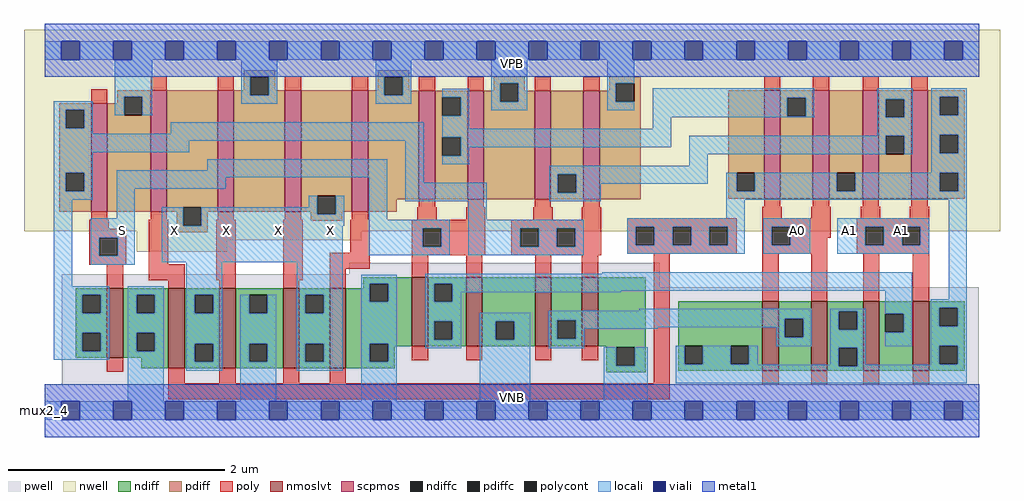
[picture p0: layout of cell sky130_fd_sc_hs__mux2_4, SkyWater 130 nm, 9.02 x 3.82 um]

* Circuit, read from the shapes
.subckt sky130_fd_sc_hs__mux2_4 A0 A1 S VGND VNB VPB VPWR X
XM1 VGND S n1 VNB sky130_fd_pr__nfet_01v8_lvt w=0.64 l=0.15
XM2 X n2 VGND VNB sky130_fd_pr__nfet_01v8_lvt w=0.74 l=0.15 m=4
XM3 n3 S VGND VNB sky130_fd_pr__nfet_01v8_lvt w=0.64 l=0.15 m=2
XM4 n4 n1 VGND VNB sky130_fd_pr__nfet_01v8_lvt w=0.64 l=0.15 m=2
XM5 n4 A0 n2 VNB sky130_fd_pr__nfet_01v8_lvt w=0.64 l=0.15 m=2
XM6 n3 A1 n2 VNB sky130_fd_pr__nfet_01v8_lvt w=0.64 l=0.15 m=2
XM7 VPWR S n1 VPB sky130_fd_pr__pfet_01v8 w=1 l=0.15
XM8 X n2 VPWR VPB sky130_fd_pr__pfet_01v8 w=1.12 l=0.15 m=4
XM9 n5 S VPWR VPB sky130_fd_pr__pfet_01v8 w=1 l=0.15 m=2
XM10 n6 n1 VPWR VPB sky130_fd_pr__pfet_01v8 w=1 l=0.15 m=2
XM11 n5 A0 n2 VPB sky130_fd_pr__pfet_01v8 w=1 l=0.15 m=2
XM12 n6 A1 n2 VPB sky130_fd_pr__pfet_01v8 w=1 l=0.15 m=2
.ends

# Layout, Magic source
magic
tech sky130A
magscale 1 2
<< nwell >>
rect -38 332 1766 704
rect 170 315 586 332
rect 170 294 338 315
<< pwell >>
rect 563 252 1137 273
rect 32 228 1137 252
rect 32 49 1727 228
rect 0 0 1728 49
<< scpmos >>
rect 86 368 116 568
rect 196 368 226 592
rect 320 368 350 592
rect 444 368 474 592
rect 568 368 598 592
rect 692 391 722 591
rect 782 391 812 591
rect 906 391 936 591
rect 996 391 1026 591
rect 1330 392 1360 592
rect 1420 392 1450 592
rect 1512 392 1542 592
rect 1602 392 1632 592
<< nmoslvt >>
rect 115 98 145 226
rect 229 78 259 226
rect 323 78 353 226
rect 441 78 471 226
rect 527 78 557 226
rect 679 119 709 247
rect 779 119 809 247
rect 907 119 937 247
rect 993 119 1023 247
rect 1327 74 1357 202
rect 1417 74 1447 202
rect 1513 74 1543 202
rect 1605 74 1635 202
<< ndiff >>
rect 589 235 679 247
rect 589 226 601 235
rect 58 214 115 226
rect 58 180 70 214
rect 104 180 115 214
rect 58 144 115 180
rect 58 110 70 144
rect 104 110 115 144
rect 58 98 115 110
rect 145 214 229 226
rect 145 180 170 214
rect 204 180 229 214
rect 145 144 229 180
rect 145 110 170 144
rect 204 110 229 144
rect 145 98 229 110
rect 179 78 229 98
rect 259 214 323 226
rect 259 180 278 214
rect 312 180 323 214
rect 259 124 323 180
rect 259 90 278 124
rect 312 90 323 124
rect 259 78 323 90
rect 353 214 441 226
rect 353 180 378 214
rect 412 180 441 214
rect 353 124 441 180
rect 353 90 378 124
rect 412 90 441 124
rect 353 78 441 90
rect 471 214 527 226
rect 471 180 482 214
rect 516 180 527 214
rect 471 124 527 180
rect 471 90 482 124
rect 516 90 527 124
rect 471 78 527 90
rect 557 201 601 226
rect 635 201 679 235
rect 557 124 679 201
rect 557 90 601 124
rect 635 119 679 124
rect 709 235 779 247
rect 709 201 720 235
rect 754 201 779 235
rect 709 165 779 201
rect 709 131 720 165
rect 754 131 779 165
rect 709 119 779 131
rect 809 165 907 247
rect 809 131 834 165
rect 868 131 907 165
rect 809 119 907 131
rect 937 167 993 247
rect 937 133 948 167
rect 982 133 993 167
rect 937 119 993 133
rect 1023 119 1111 247
rect 635 90 647 119
rect 1038 117 1111 119
rect 557 78 647 90
rect 1038 83 1057 117
rect 1091 83 1111 117
rect 1038 71 1111 83
rect 1171 120 1327 202
rect 1171 86 1183 120
rect 1217 86 1268 120
rect 1302 86 1327 120
rect 1171 74 1327 86
rect 1357 170 1417 202
rect 1357 136 1368 170
rect 1402 136 1417 170
rect 1357 74 1417 136
rect 1447 184 1513 202
rect 1447 150 1468 184
rect 1502 150 1513 184
rect 1447 116 1513 150
rect 1447 82 1468 116
rect 1502 82 1513 116
rect 1447 74 1513 82
rect 1543 179 1605 202
rect 1543 145 1554 179
rect 1588 145 1605 179
rect 1543 74 1605 145
rect 1635 190 1701 202
rect 1635 156 1654 190
rect 1688 156 1701 190
rect 1635 120 1701 156
rect 1635 86 1654 120
rect 1688 86 1701 120
rect 1635 74 1701 86
<< pdiff >>
rect 368 617 426 629
rect 368 592 380 617
rect 134 580 196 592
rect 134 568 147 580
rect 27 556 86 568
rect 27 522 39 556
rect 73 522 86 556
rect 27 440 86 522
rect 27 406 39 440
rect 73 406 86 440
rect 27 368 86 406
rect 116 546 147 568
rect 181 546 196 580
rect 116 368 196 546
rect 226 376 320 592
rect 226 368 256 376
rect 244 342 256 368
rect 290 368 320 376
rect 350 583 380 592
rect 414 592 426 617
rect 616 617 674 629
rect 616 592 628 617
rect 414 583 444 592
rect 350 368 444 583
rect 474 397 568 592
rect 474 368 504 397
rect 290 342 302 368
rect 492 363 504 368
rect 538 368 568 397
rect 598 583 628 592
rect 662 591 674 617
rect 830 605 888 617
rect 830 591 842 605
rect 662 583 692 591
rect 598 391 692 583
rect 722 579 782 591
rect 722 545 735 579
rect 769 545 782 579
rect 722 505 782 545
rect 722 471 735 505
rect 769 471 782 505
rect 722 391 782 471
rect 812 571 842 591
rect 876 591 888 605
rect 1044 605 1102 617
rect 1044 591 1056 605
rect 876 571 906 591
rect 812 391 906 571
rect 936 437 996 591
rect 936 403 949 437
rect 983 403 996 437
rect 936 391 996 403
rect 1026 571 1056 591
rect 1090 571 1102 605
rect 1026 391 1102 571
rect 1264 440 1330 592
rect 1264 406 1279 440
rect 1313 406 1330 440
rect 1264 392 1330 406
rect 1360 578 1420 592
rect 1360 544 1373 578
rect 1407 544 1420 578
rect 1360 392 1420 544
rect 1450 440 1512 592
rect 1450 406 1464 440
rect 1498 406 1512 440
rect 1450 392 1512 406
rect 1542 576 1602 592
rect 1542 542 1555 576
rect 1589 542 1602 576
rect 1542 508 1602 542
rect 1542 474 1555 508
rect 1589 474 1602 508
rect 1542 392 1602 474
rect 1632 580 1701 592
rect 1632 546 1655 580
rect 1689 546 1701 580
rect 1632 510 1701 546
rect 1632 476 1655 510
rect 1689 476 1701 510
rect 1632 440 1701 476
rect 1632 406 1655 440
rect 1689 406 1701 440
rect 1632 392 1701 406
rect 598 368 651 391
rect 538 363 550 368
rect 244 330 302 342
rect 492 351 550 363
<< ndiffc >>
rect 70 180 104 214
rect 70 110 104 144
rect 170 180 204 214
rect 170 110 204 144
rect 278 180 312 214
rect 278 90 312 124
rect 378 180 412 214
rect 378 90 412 124
rect 482 180 516 214
rect 482 90 516 124
rect 601 201 635 235
rect 601 90 635 124
rect 720 201 754 235
rect 720 131 754 165
rect 834 131 868 165
rect 948 133 982 167
rect 1057 83 1091 117
rect 1183 86 1217 120
rect 1268 86 1302 120
rect 1368 136 1402 170
rect 1468 150 1502 184
rect 1468 82 1502 116
rect 1554 145 1588 179
rect 1654 156 1688 190
rect 1654 86 1688 120
<< pdiffc >>
rect 39 522 73 556
rect 39 406 73 440
rect 147 546 181 580
rect 256 342 290 376
rect 380 583 414 617
rect 504 363 538 397
rect 628 583 662 617
rect 735 545 769 579
rect 735 471 769 505
rect 842 571 876 605
rect 949 403 983 437
rect 1056 571 1090 605
rect 1279 406 1313 440
rect 1373 544 1407 578
rect 1464 406 1498 440
rect 1555 542 1589 576
rect 1555 474 1589 508
rect 1655 546 1689 580
rect 1655 476 1689 510
rect 1655 406 1689 440
<< poly >>
rect 86 568 116 594
rect 196 592 226 618
rect 320 592 350 618
rect 86 353 116 368
rect 196 353 226 368
rect 83 336 119 353
rect 83 320 151 336
rect 83 286 101 320
rect 135 286 151 320
rect 83 270 151 286
rect 193 271 229 353
rect 444 592 474 618
rect 568 592 598 618
rect 320 353 350 368
rect 444 353 474 368
rect 692 591 722 617
rect 782 591 812 617
rect 906 591 936 617
rect 996 591 1026 617
rect 1330 592 1360 618
rect 1420 592 1450 618
rect 1512 592 1542 618
rect 1602 592 1632 618
rect 692 376 722 391
rect 782 376 812 391
rect 906 376 936 391
rect 996 376 1026 391
rect 1330 377 1360 392
rect 1420 377 1450 392
rect 1512 377 1542 392
rect 1602 377 1632 392
rect 115 226 145 270
rect 193 241 259 271
rect 317 241 353 353
rect 229 226 259 241
rect 323 226 353 241
rect 441 241 477 353
rect 568 353 598 368
rect 689 353 725 376
rect 779 353 815 376
rect 903 353 939 376
rect 993 353 1029 376
rect 1327 356 1363 377
rect 1417 356 1453 377
rect 1509 356 1545 377
rect 1599 356 1635 377
rect 565 292 601 353
rect 527 262 601 292
rect 679 337 815 353
rect 679 303 699 337
rect 733 303 815 337
rect 679 287 815 303
rect 863 337 1029 353
rect 863 303 879 337
rect 913 303 947 337
rect 981 303 1029 337
rect 863 287 1029 303
rect 1077 340 1279 356
rect 1077 306 1093 340
rect 1127 306 1161 340
rect 1195 306 1229 340
rect 1263 306 1279 340
rect 1077 290 1279 306
rect 1327 340 1453 356
rect 1327 306 1344 340
rect 1378 320 1453 340
rect 1501 340 1635 356
rect 1378 306 1447 320
rect 1327 290 1447 306
rect 1501 306 1517 340
rect 1551 306 1585 340
rect 1619 306 1635 340
rect 1501 290 1635 306
rect 441 226 471 241
rect 527 226 557 262
rect 679 247 709 287
rect 779 247 809 287
rect 907 247 937 287
rect 993 247 1023 287
rect 115 72 145 98
rect 679 93 709 119
rect 779 93 809 119
rect 907 93 937 119
rect 993 93 1023 119
rect 229 51 259 78
rect 323 51 353 78
rect 441 51 471 78
rect 527 51 557 78
rect 1126 51 1156 290
rect 1327 202 1357 290
rect 1417 202 1447 290
rect 1513 202 1543 290
rect 1605 202 1635 290
rect 229 21 1156 51
rect 1327 48 1357 74
rect 1417 48 1447 74
rect 1513 48 1543 74
rect 1605 48 1635 74
<< polycont >>
rect 101 286 135 320
rect 699 303 733 337
rect 879 303 913 337
rect 947 303 981 337
rect 1093 306 1127 340
rect 1161 306 1195 340
rect 1229 306 1263 340
rect 1344 306 1378 340
rect 1517 306 1551 340
rect 1585 306 1619 340
<< locali >>
rect 0 649 31 683
rect 65 649 127 683
rect 161 649 223 683
rect 257 649 319 683
rect 353 649 415 683
rect 449 649 511 683
rect 545 649 607 683
rect 641 649 703 683
rect 737 649 799 683
rect 833 649 895 683
rect 929 649 991 683
rect 1025 649 1087 683
rect 1121 649 1183 683
rect 1217 649 1279 683
rect 1313 649 1375 683
rect 1409 649 1471 683
rect 1505 649 1567 683
rect 1601 649 1663 683
rect 1697 649 1728 683
rect 130 580 199 649
rect 17 556 89 572
rect 17 522 39 556
rect 73 522 89 556
rect 130 546 147 580
rect 181 546 199 580
rect 364 617 430 649
rect 364 583 380 617
rect 414 583 430 617
rect 364 567 430 583
rect 612 617 678 649
rect 612 583 628 617
rect 662 583 678 617
rect 826 605 892 649
rect 612 567 678 583
rect 735 579 785 595
rect 769 545 785 579
rect 826 571 842 605
rect 876 571 892 605
rect 826 555 892 571
rect 1040 605 1090 649
rect 1040 571 1056 605
rect 1040 555 1090 571
rect 1124 578 1423 596
rect 17 512 89 522
rect 233 512 701 533
rect 17 499 701 512
rect 17 478 267 499
rect 17 440 89 478
rect 301 444 633 465
rect 17 406 39 440
rect 73 406 89 440
rect 17 390 89 406
rect 133 431 633 444
rect 133 410 335 431
rect 17 230 51 390
rect 133 356 167 410
rect 488 376 504 397
rect 85 320 167 356
rect 85 286 101 320
rect 135 286 167 320
rect 85 270 167 286
rect 217 342 256 376
rect 290 363 504 376
rect 538 363 554 397
rect 290 342 554 363
rect 599 353 633 431
rect 667 421 701 499
rect 735 521 785 545
rect 1124 544 1373 578
rect 1407 544 1423 578
rect 1124 542 1423 544
rect 1539 576 1605 596
rect 1539 542 1555 576
rect 1589 542 1605 576
rect 1124 521 1158 542
rect 735 505 1158 521
rect 1539 508 1605 542
rect 769 487 1158 505
rect 769 471 785 487
rect 735 455 785 471
rect 1192 474 1555 508
rect 1589 474 1605 508
rect 1639 580 1705 596
rect 1639 546 1655 580
rect 1689 546 1705 580
rect 1639 510 1705 546
rect 1639 476 1655 510
rect 1689 476 1705 510
rect 1192 453 1226 474
rect 933 437 1226 453
rect 1639 440 1705 476
rect 667 387 817 421
rect 933 403 949 437
rect 983 419 1226 437
rect 983 403 1028 419
rect 933 387 1028 403
rect 1260 406 1279 440
rect 1313 406 1464 440
rect 1498 406 1655 440
rect 1689 406 1705 440
rect 1260 390 1705 406
rect 783 353 817 387
rect 1260 356 1294 390
rect 217 274 551 342
rect 599 337 749 353
rect 599 303 699 337
rect 733 303 749 337
rect 599 287 749 303
rect 783 337 997 353
rect 783 303 879 337
rect 913 303 947 337
rect 981 303 997 337
rect 783 287 997 303
rect 1077 340 1294 356
rect 1077 306 1093 340
rect 1127 306 1161 340
rect 1195 306 1229 340
rect 1263 306 1294 340
rect 1077 290 1294 306
rect 1328 340 1415 356
rect 1328 306 1344 340
rect 1378 306 1415 340
rect 1328 290 1415 306
rect 1465 340 1635 356
rect 1465 306 1517 340
rect 1551 306 1585 340
rect 1619 306 1635 340
rect 1465 290 1635 306
rect 17 214 120 230
rect 17 180 70 214
rect 104 180 120 214
rect 17 144 120 180
rect 17 110 70 144
rect 104 110 120 144
rect 17 94 120 110
rect 154 214 220 230
rect 154 180 170 214
rect 204 180 220 214
rect 154 144 220 180
rect 154 110 170 144
rect 204 110 220 144
rect 154 17 220 110
rect 262 214 328 274
rect 466 214 551 274
rect 1031 253 1604 256
rect 262 180 278 214
rect 312 180 328 214
rect 262 124 328 180
rect 262 90 278 124
rect 312 90 328 124
rect 262 74 328 90
rect 362 180 378 214
rect 412 180 428 214
rect 362 124 428 180
rect 362 90 378 124
rect 412 90 428 124
rect 362 17 428 90
rect 466 180 482 214
rect 516 180 551 214
rect 466 124 551 180
rect 466 90 482 124
rect 516 90 551 124
rect 466 74 551 90
rect 585 235 651 251
rect 585 201 601 235
rect 635 201 651 235
rect 585 124 651 201
rect 585 90 601 124
rect 635 90 651 124
rect 704 235 1604 253
rect 704 201 720 235
rect 754 222 1604 235
rect 754 219 1065 222
rect 754 201 770 219
rect 704 165 770 201
rect 1099 185 1418 188
rect 704 131 720 165
rect 754 131 770 165
rect 704 115 770 131
rect 804 165 898 181
rect 804 131 834 165
rect 868 131 898 165
rect 585 17 651 90
rect 804 17 898 131
rect 932 170 1418 185
rect 932 167 1368 170
rect 932 133 948 167
rect 982 154 1368 167
rect 982 151 1133 154
rect 982 133 998 151
rect 932 115 998 133
rect 1352 136 1368 154
rect 1402 136 1418 170
rect 1034 83 1057 117
rect 1091 83 1115 117
rect 1034 17 1115 83
rect 1167 86 1183 120
rect 1217 86 1268 120
rect 1302 86 1318 120
rect 1352 119 1418 136
rect 1452 184 1518 188
rect 1452 150 1468 184
rect 1502 150 1518 184
rect 1167 85 1318 86
rect 1452 116 1518 150
rect 1554 179 1604 222
rect 1671 206 1705 390
rect 1588 145 1604 179
rect 1554 119 1604 145
rect 1638 190 1705 206
rect 1638 156 1654 190
rect 1688 156 1705 190
rect 1638 120 1705 156
rect 1452 85 1468 116
rect 1167 82 1468 85
rect 1502 85 1518 116
rect 1638 86 1654 120
rect 1688 86 1705 120
rect 1638 85 1705 86
rect 1502 82 1705 85
rect 1167 51 1705 82
rect 0 -17 31 17
rect 65 -17 127 17
rect 161 -17 223 17
rect 257 -17 319 17
rect 353 -17 415 17
rect 449 -17 511 17
rect 545 -17 607 17
rect 641 -17 703 17
rect 737 -17 799 17
rect 833 -17 895 17
rect 929 -17 991 17
rect 1025 -17 1087 17
rect 1121 -17 1183 17
rect 1217 -17 1279 17
rect 1313 -17 1375 17
rect 1409 -17 1471 17
rect 1505 -17 1567 17
rect 1601 -17 1663 17
rect 1697 -17 1728 17
<< viali >>
rect 31 649 65 683
rect 127 649 161 683
rect 223 649 257 683
rect 319 649 353 683
rect 415 649 449 683
rect 511 649 545 683
rect 607 649 641 683
rect 703 649 737 683
rect 799 649 833 683
rect 895 649 929 683
rect 991 649 1025 683
rect 1087 649 1121 683
rect 1183 649 1217 683
rect 1279 649 1313 683
rect 1375 649 1409 683
rect 1471 649 1505 683
rect 1567 649 1601 683
rect 1663 649 1697 683
rect 31 -17 65 17
rect 127 -17 161 17
rect 223 -17 257 17
rect 319 -17 353 17
rect 415 -17 449 17
rect 511 -17 545 17
rect 607 -17 641 17
rect 703 -17 737 17
rect 799 -17 833 17
rect 895 -17 929 17
rect 991 -17 1025 17
rect 1087 -17 1121 17
rect 1183 -17 1217 17
rect 1279 -17 1313 17
rect 1375 -17 1409 17
rect 1471 -17 1505 17
rect 1567 -17 1601 17
rect 1663 -17 1697 17
<< metal1 >>
rect 0 683 1728 715
rect 0 649 31 683
rect 65 649 127 683
rect 161 649 223 683
rect 257 649 319 683
rect 353 649 415 683
rect 449 649 511 683
rect 545 649 607 683
rect 641 649 703 683
rect 737 649 799 683
rect 833 649 895 683
rect 929 649 991 683
rect 1025 649 1087 683
rect 1121 649 1183 683
rect 1217 649 1279 683
rect 1313 649 1375 683
rect 1409 649 1471 683
rect 1505 649 1567 683
rect 1601 649 1663 683
rect 1697 649 1728 683
rect 0 617 1728 649
rect 0 17 1728 49
rect 0 -17 31 17
rect 65 -17 127 17
rect 161 -17 223 17
rect 257 -17 319 17
rect 353 -17 415 17
rect 449 -17 511 17
rect 545 -17 607 17
rect 641 -17 703 17
rect 737 -17 799 17
rect 833 -17 895 17
rect 929 -17 991 17
rect 1025 -17 1087 17
rect 1121 -17 1183 17
rect 1217 -17 1279 17
rect 1313 -17 1375 17
rect 1409 -17 1471 17
rect 1505 -17 1567 17
rect 1601 -17 1663 17
rect 1697 -17 1728 17
rect 0 -49 1728 -17
<< labels >>
rlabel comment s 0 0 0 0 4 mux2_4
flabel pwell s 0 0 1728 49 0 FreeSans 200 0 0 0 VNB
port 5 nsew ground bidirectional
flabel nwell s 0 617 1728 666 0 FreeSans 200 0 0 0 VPB
port 6 nsew power bidirectional
flabel metal1 s 0 617 1728 666 0 FreeSans 340 0 0 0 VPWR
port 7 nsew power bidirectional
flabel metal1 s 0 0 1728 49 0 FreeSans 340 0 0 0 VGND
port 4 nsew ground bidirectional
flabel locali s 1375 316 1409 350 0 FreeSans 340 0 0 0 A0
port 1 nsew signal input
flabel locali s 1471 316 1505 350 0 FreeSans 340 0 0 0 A1
port 2 nsew signal input
flabel locali s 1567 316 1601 350 0 FreeSans 340 0 0 0 A1
port 2 nsew signal input
flabel locali s 223 316 257 350 0 FreeSans 340 0 0 0 X
port 8 nsew signal output
flabel locali s 319 316 353 350 0 FreeSans 340 0 0 0 X
port 8 nsew signal output
flabel locali s 415 316 449 350 0 FreeSans 340 0 0 0 X
port 8 nsew signal output
flabel locali s 511 316 545 350 0 FreeSans 340 0 0 0 X
port 8 nsew signal output
flabel locali s 127 316 161 350 0 FreeSans 340 0 0 0 S
port 3 nsew signal input
<< properties >>
string LEFsite unit
string LEFclass CORE
string FIXED_BBOX 0 0 1728 666
string GDS_FILE $PDKPATH/libs.ref/sky130_fd_sc_hs/gds/sky130_fd_sc_hs.gds
string LEFsymmetry X Y
string GDS_END 1681878
string GDS_START 1669466
<< end >>
